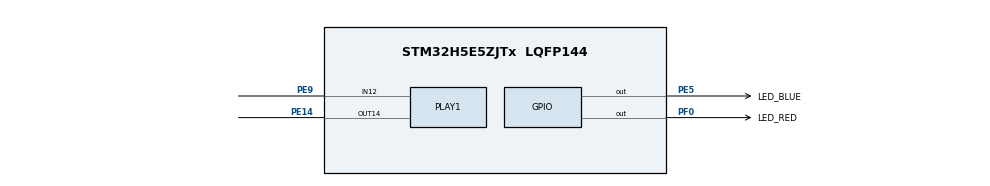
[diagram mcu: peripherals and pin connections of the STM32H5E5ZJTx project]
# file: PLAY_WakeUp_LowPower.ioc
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CORTEX_M33_NS.userName=CORTEX_M33
Mcu.Family=STM32H5
Mcu.Name=STM32H5E5ZJTx
Mcu.Package=LQFP144
NVIC.PLAY1_IRQn=true\:0\:0\:false\:false\:true\:true\:true\:true
NVIC.PriorityGroup=NVIC_PRIORITYGROUP_4
PE14.GPIO_Speed=GPIO_SPEED_FREQ_HIGH
PE14.Mode=PLAY1_OUT14
PE14.Signal=PLAY1_OUT14
PE5.GPIO_Label=LED_BLUE
PE5.PinState=GPIO_PIN_SET
PE5.Signal=GPIO_Output
PE9.GPIO_PuPd=GPIO_PULLDOWN
PE9.GPIO_Speed=GPIO_SPEED_FREQ_HIGH
PE9.Mode=PLAY1_IN12
PE9.Signal=PLAY1_IN12
PF0.GPIO_Label=LED_RED
PF0.PinState=GPIO_PIN_SET
PF0.Signal=GPIO_Output
PH0-OSC_IN(PH0).Mode=HSE-External-Oscillator
PH0-OSC_IN(PH0).Signal=RCC_OSC_IN
PH1-OSC_OUT(PH1).Mode=HSE-External-Oscillator
PH1-OSC_OUT(PH1).Signal=RCC_OSC_OUT
PLAY1.Channel-PLAY1_IN12=PLAY_CHANNEL_12
PLAY1.InputPulseWidth12=100
PLAY1.InputSignal12=HAL_PLAY1_IN_IN12_MUX12
PLAY1.L0Input0=HAL_PLAY_LUT_INPUT_FILTER12
PLAY1.L0InputType0=InputSignal
PLAY1.L0LUT=0xAAAA
PLAY1.LUT0InputUsage0=enable
PLAY1.OutputSignal0=disable
PLAY1.OutputSignal14=HAL_PLAY_LUT0_OUT_DIRECT
ProjectManager.HeapSize=0x200
ProjectManager.StackSize=0x400
ProjectManager.TargetToolchain=EWARM V8
RCC.ADCFreq_Value=250000000
RCC.AHBFreq_Value=250000000
RCC.APB1Freq_Value=250000000
RCC.APB1TimFreq_Value=250000000
RCC.APB2Freq_Value=250000000
RCC.APB2TimFreq_Value=250000000
RCC.APB3Freq_Value=250000000
RCC.CSI_VALUE=4000000
RCC.CortexFreq_Value=250000000
RCC.EPOD_VALUE=32000000
RCC.HCLKFreq_Value=250000000
RCC.HSE_VALUE=48000000
RCC.HSI48_VALUE=48000000
RCC.HSI_VALUE=64000000
RCC.LSE_VALUE=32768
RCC.LSIRC_VALUE=32000
RCC.PLAY1CLockSelection=RCC_PLAY1CLKSOURCE_LSI
RCC.PLL2M=2
RCC.PLL2N=8
RCC.PLL2Source=RCC_PLL2_SOURCE_HSI
RCC.PLLM=16
RCC.PLLN=250
RCC.PLLSourceVirtual=RCC_PLL1_SOURCE_HSI
RCC.SYSCLKFreq_VALUE=250000000
RCC.SYSCLKSource=RCC_SYSCLKSOURCE_PLLCLK
RCC.USBFreq_Value=258000000
RCC.VCOOutputFreq_Value=500000000
VP_CORTEX_M33_NS_VS_Hclk.Mode=Hclk_Mode
VP_ICACHE_VS_ICACHE.Mode=DefaultMode
VP_PLAY1_VS_PLA.Mode=PLAY_Activate
VP_PWR_VS_LPOM.Mode=PowerOptimisation
VP_PWR_VS_SECSignals.Mode=Security/Privilege
board=custom

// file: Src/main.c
/* USER CODE BEGIN Header */
/**
  ******************************************************************************
  * @file           : main.c
  * @brief          : Main program body
  ******************************************************************************
  * @attention
  *
  * Copyright (c) 2025 STMicroelectronics.
  * All rights reserved.
  *
  * This software is licensed under terms that can be found in the LICENSE file
  * in the root directory of this software component.
  * If no LICENSE file comes with this software, it is provided AS-IS.
  *
  ******************************************************************************
  */
/* USER CODE END Header */
#include "main.h"

/* USER CODE BEGIN PTD */
typedef enum
{
  LED_BLUE,
  LED_RED,
  LED_NBR
} Led_TypeDef;
/* USER CODE END PTD */

/* USER CODE BEGIN PV */
static GPIO_TypeDef *LED_PORT[LED_NBR] =
{
  LED_BLUE_GPIO_Port,
  LED_RED_GPIO_Port
};

static const uint16_t LED_PIN[LED_NBR] =
{
  LED_BLUE_Pin,
  LED_RED_Pin
};
/* USER CODE END PV */

void SystemClock_Config(void);
static void MX_GPIO_Init(void);
static void MX_ICACHE_Init(void);
static void MX_PLAY1_Init(void);
/* USER CODE BEGIN PFP */
void LED_On(Led_TypeDef led);
void LED_Off(Led_TypeDef led);
void LED_Toggle(Led_TypeDef led);
/* USER CODE END PFP */

int main(void)
{

  /* MCU Configuration--------------------------------------------------------*/

  /* Reset of all peripherals, Initializes the Flash interface and the Systick. */

  /* System interrupt init*/
  NVIC_SetPriorityGrouping(NVIC_PRIORITYGROUP_4);

  /* Configure the system clock */
  SystemClock_Config();

  /* Initialize all configured peripherals */
  MX_GPIO_Init();
  MX_ICACHE_Init();
  MX_PLAY1_Init();
  /* USER CODE BEGIN 2 */

  /* Start PLAY module */
  LL_PLAY_Lock(PLAY1);

  LL_PWR_SetStopModeRegulVoltageScaling(LL_PWR_REGU_VOLTAGE_SVOS_SCALE3);

  /* USER CODE END 2 */

  /* Infinite loop */
  /* USER CODE BEGIN WHILE */
  while (1)
  {
    /* The system enters STOP mode to demonstrate that the alarm signal is fully handled by the PLAY hardware */

    /* Disable SysTick Interrupt */
    SysTick->CTRL &= ~SysTick_CTRL_TICKINT_Msk;

    /** Enter STOP Mode with WaitForevent parameter, a PLAY EXTI event would wake the system up.
      * During STOP mode, the PLAY LUT output flags are not functional.
      * To wakeup the system, this example configures the PLAY EXTI output so that the falling edge of LUT 15
      * will trigger the EXTI event, waking up the system.
      */
    LL_PWR_SetPowerMode(LL_PWR_STOP_MODE);

    /* Set SLEEPDEEP bit of Cortex System Control Register */
    LL_LPM_EnableDeepSleep();

    /* Wait For Event Request */
    __WFE();

    /**
      * The user can change the PLAY1_IN12 (PE9) input signal to trigger the alarm signal.
      * As the PLAY peripheral handles the alarm signal, the application does not need to do anything in this step.
      * When the user changes the input signal a second time, the PLAY peripheral will stop the alarm signal.
      * The alarm stop will trigger an EXTI event, which will wake the system.
      * The application will then turn on the LED to indicate that the alarm has been stopped, wait for one second,
      * and go back again in STOP mode.
      */

    /* Reach this point when the MCU wakes up */

    /* Enable SysTick Interrupt */
    SysTick->CTRL |= SysTick_CTRL_TICKINT_Msk;

    /* The PLAY event wakes the device up */
    SystemClock_Config();

    /* The alarm was stopped: rising edge on LUT 15 registered output. Turn on the LED */
    LED_On(LED_BLUE);

    /* Wait for one second so the LED status can be noticed.*/
    LL_mDelay(1000);
    LED_Off(LED_BLUE);
    /* USER CODE END WHILE */

  }
}

void SystemClock_Config(void)
{
  LL_FLASH_SetLatency(LL_FLASH_LATENCY_5);
  while(LL_FLASH_GetLatency()!= LL_FLASH_LATENCY_5)
  {
  }

  LL_PWR_SetRegulVoltageScaling(LL_PWR_REGU_VOLTAGE_SCALE0);
  while (LL_PWR_IsActiveFlag_VOS() == 0)
  {
  }
  LL_RCC_HSI_Enable();

   /* Wait till HSI is ready */
  while(LL_RCC_HSI_IsReady() != 1)
  {
  }

  LL_RCC_HSI_SetCalibTrimming(64);
  LL_RCC_HSI_SetDivider(LL_RCC_HSI_DIV_2);
  LL_RCC_LSI_Enable();

   /* Wait till LSI is ready */
  while(LL_RCC_LSI_IsReady() != 1)
  {
  }

  LL_RCC_PLL1_SetSource(LL_RCC_PLL1SOURCE_HSI);
  LL_RCC_PLL1_SetVCOInputRange(LL_RCC_PLLINPUTRANGE_2_4);
  LL_RCC_PLL1_SetVCOOutputRange(LL_RCC_PLLVCORANGE_WIDE);
  LL_RCC_PLL1_SetM(16);
  LL_RCC_PLL1_SetN(250);
  LL_RCC_PLL1_SetP(2);
  LL_RCC_PLL1_SetQ(2);
  LL_RCC_PLL1_SetR(2);
  LL_RCC_PLL1P_Enable();
  LL_RCC_PLL1_Enable();

   /* Wait till PLL is ready */
  while(LL_RCC_PLL1_IsReady() != 1)
  {
  }

  LL_RCC_SetSysClkSource(LL_RCC_SYS_CLKSOURCE_PLL1);

   /* Wait till System clock is ready */
  while(LL_RCC_GetSysClkSource() != LL_RCC_SYS_CLKSOURCE_STATUS_PLL1)
  {
  }

  LL_RCC_SetAHBPrescaler(LL_RCC_SYSCLK_DIV_1);
  LL_RCC_SetAPB1Prescaler(LL_RCC_APB1_DIV_1);
  LL_RCC_SetAPB2Prescaler(LL_RCC_APB2_DIV_1);
  LL_RCC_SetAPB3Prescaler(LL_RCC_APB3_DIV_1);

  LL_Init1msTick(250000000);

  LL_SetSystemCoreClock(250000000);
}

static void MX_ICACHE_Init(void)
{

  /** Enable instruction cache (default 2-ways set associative cache)
  */
  LL_ICACHE_Enable();

}

static void MX_PLAY1_Init(void)
{

  /* USER CODE BEGIN PLAY1_Init 0 */
  LL_APB3_GRP1_EnableClockSleep(LL_APB3_GRP1_PERIPH_PLAY1);

  /* USER CODE END PLAY1_Init 0 */

  LL_GPIO_InitTypeDef GPIO_InitStruct = {0};

  LL_RCC_SetPLAY1ClockSource(LL_RCC_PLAY1_CLKSOURCE_LSI);
  LL_RCC_SetPLAY1ClockDivider(LL_RCC_PLAY1_CLK_DIV_1);

  /* Peripheral clock enable */
  LL_APB3_GRP1_EnableClock(LL_APB3_GRP1_PERIPH_PLAY1);
  LL_APB3_GRP1_EnableClock(LL_APB3_GRP1_PERIPH_PLAY1APB);

  LL_AHB2_GRP1_EnableClock(LL_AHB2_GRP1_PERIPH_GPIOE);
  /**PLAY1 GPIO Configuration
  PE9   ------> PLAY1_IN12
  PE14   ------> PLAY1_OUT14
  */
  GPIO_InitStruct.Pin = LL_GPIO_PIN_9;
  GPIO_InitStruct.Mode = LL_GPIO_MODE_ALTERNATE;
  GPIO_InitStruct.Speed = LL_GPIO_SPEED_FREQ_HIGH;
  GPIO_InitStruct.OutputType = LL_GPIO_OUTPUT_PUSHPULL;
  GPIO_InitStruct.Pull = LL_GPIO_PULL_DOWN;
  GPIO_InitStruct.Alternate = LL_GPIO_AF_14;
  LL_GPIO_Init(GPIOE, &GPIO_InitStruct);

  GPIO_InitStruct.Pin = LL_GPIO_PIN_14;
  GPIO_InitStruct.Mode = LL_GPIO_MODE_ALTERNATE;
  GPIO_InitStruct.Speed = LL_GPIO_SPEED_FREQ_HIGH;
  GPIO_InitStruct.OutputType = LL_GPIO_OUTPUT_PUSHPULL;
  GPIO_InitStruct.Pull = LL_GPIO_PULL_NO;
  GPIO_InitStruct.Alternate = LL_GPIO_AF_14;
  LL_GPIO_Init(GPIOE, &GPIO_InitStruct);

  /* PLAY1 interrupt Init */
  NVIC_SetPriority(PLAY1_IRQn, NVIC_EncodePriority(NVIC_GetPriorityGrouping(),0, 0));
  NVIC_EnableIRQ(PLAY1_IRQn);

  /** Configure Input 12
  */
  LL_PLAY_INPUT_Config(PLAY1, LL_PLAY_IN12, 0, LL_PLAY_EDGE_DETECTION_MODE_BYPASSED, 100);

  /** LUT0 configuration
  */
  LL_PLAY_LUT_SetTruthTable(PLAY1, LL_PLAY_LUT0, 0xAAAA);
  LL_PLAY_LUT_ConfigInputs(PLAY1, LL_PLAY_LUT0, LL_PLAY_LUT_SOURCE_FILTER12, LL_PLAY_LUT_SOURCE_SWTRIG15, LL_PLAY_LUT_SOURCE_SWTRIG15, LL_PLAY_LUT_SOURCE_SWTRIG15, LL_PLAY_LUT_CLK_GATE_OFF);

  /** Configure Output 14
  */
  LL_PLAY_OUTPUT_SetSource(PLAY1, LL_PLAY_OUT14, LL_PLAY_LUT0_OUT_DIRECT);

  /** PLAY Privileged access configuration
  */
  LL_PLAY_SetPrivAttr(PLAY1, LL_PLAY_PRIV_ITEM_ALL, LL_PLAY_ATTR_NPRIV);
  /* USER CODE BEGIN PLAY1_Init 2 */
  LL_EXTI_InitTypeDef exti_config;

  /* EXTI line 64 is connected to PLAY1_OUT14 */
  exti_config.Line_0_31 = 0;
  exti_config.Line_32_63 = 0;
  exti_config.Line_64_95 = LL_EXTI_LINE_64;
  exti_config.LineCommand = ENABLE;
  exti_config.Mode = LL_EXTI_MODE_EVENT;
  exti_config.Trigger = LL_EXTI_TRIGGER_FALLING;
  if (LL_EXTI_Init(&exti_config) != SUCCESS)
  {
    Error_Handler();
  }
  /* USER CODE END PLAY1_Init 2 */

}

static void MX_GPIO_Init(void)
{
  LL_GPIO_InitTypeDef GPIO_InitStruct = {0};

  /* GPIO Ports Clock Enable */
  LL_AHB2_GRP1_EnableClock(LL_AHB2_GRP1_PERIPH_GPIOE);
  LL_AHB2_GRP1_EnableClock(LL_AHB2_GRP1_PERIPH_GPIOF);
  LL_AHB2_GRP1_EnableClock(LL_AHB2_GRP1_PERIPH_GPIOH);

  /**/
  LL_GPIO_SetOutputPin(LED_BLUE_GPIO_Port, LED_BLUE_Pin);

  /**/
  LL_GPIO_SetOutputPin(LED_RED_GPIO_Port, LED_RED_Pin);

  /**/
  GPIO_InitStruct.Pin = LED_BLUE_Pin;
  GPIO_InitStruct.Mode = LL_GPIO_MODE_OUTPUT;
  GPIO_InitStruct.Speed = LL_GPIO_SPEED_FREQ_LOW;
  GPIO_InitStruct.OutputType = LL_GPIO_OUTPUT_PUSHPULL;
  GPIO_InitStruct.Pull = LL_GPIO_PULL_NO;
  LL_GPIO_Init(LED_BLUE_GPIO_Port, &GPIO_InitStruct);

  /**/
  GPIO_InitStruct.Pin = LED_RED_Pin;
  GPIO_InitStruct.Mode = LL_GPIO_MODE_OUTPUT;
  GPIO_InitStruct.Speed = LL_GPIO_SPEED_FREQ_LOW;
  GPIO_InitStruct.OutputType = LL_GPIO_OUTPUT_PUSHPULL;
  GPIO_InitStruct.Pull = LL_GPIO_PULL_NO;
  LL_GPIO_Init(LED_RED_GPIO_Port, &GPIO_InitStruct);

}

/* USER CODE BEGIN 4 */

/**
  * @brief  Turn-on LED.
  * @param  None
  * @retval None
  */
void LED_On(Led_TypeDef led)
{
  /* Turn LED on */
  LL_GPIO_ResetOutputPin(LED_PORT[led], LED_PIN[led]);
}

/**
  * @brief  Turn-off LED.
  * @param  None
  * @retval None
  */
void LED_Off(Led_TypeDef led)
{
  /* Turn LED1 off */
  LL_GPIO_SetOutputPin(LED_PORT[led], LED_PIN[led]);
}

/**
  * @brief  Toggle LED.
  * @param  None
  * @retval None
  */
void LED_Toggle(Led_TypeDef led)
{
  /* Toggle LED on */
  LL_GPIO_TogglePin(LED_PORT[led], LED_PIN[led]);
}

/* USER CODE END 4 */

void Error_Handler(void)
{
  /* USER CODE BEGIN Error_Handler_Debug */
  /* User can add his own implementation to report the HAL error return state */
  __disable_irq();
  while (1)
  {
    LED_Toggle(LED_RED);
    LL_mDelay(1000);
  }
  /* USER CODE END Error_Handler_Debug */
}
